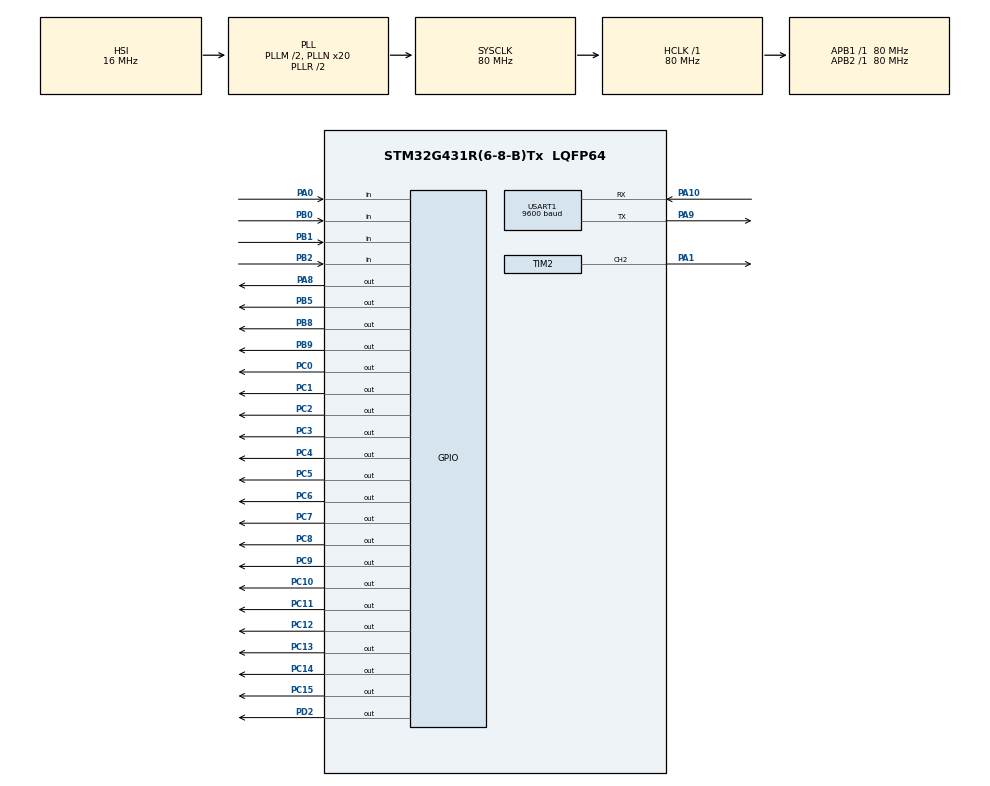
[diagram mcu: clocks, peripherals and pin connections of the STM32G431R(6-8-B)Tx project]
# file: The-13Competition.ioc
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Mcu.Family=STM32G4
Mcu.Name=STM32G431R(6-8-B)Tx
Mcu.Package=LQFP64
NVIC.PriorityGroup=NVIC_PRIORITYGROUP_4
NVIC.TIM2_IRQn=true\:0\:0\:false\:false\:true\:true\:true\:true
NVIC.TIM3_IRQn=true\:0\:0\:false\:false\:true\:true\:true\:true
NVIC.USART1_IRQn=true\:0\:0\:false\:false\:true\:true\:true\:true
PA0.Signal=GPIO_Input
PA1.Signal=S_TIM2_CH2
PA10.Mode=Asynchronous
PA10.Signal=USART1_RX
PA8.Signal=GPIO_Output
PA9.Mode=Asynchronous
PA9.Signal=USART1_TX
PB0.Signal=GPIO_Input
PB1.Signal=GPIO_Input
PB2.Signal=GPIO_Input
PB5.Signal=GPIO_Output
PB8-BOOT0.Signal=GPIO_Output
PB9.Signal=GPIO_Output
PC0.Signal=GPIO_Output
PC1.Signal=GPIO_Output
PC10.Signal=GPIO_Output
PC11.Signal=GPIO_Output
PC12.Signal=GPIO_Output
PC13.Signal=GPIO_Output
PC14-OSC32_IN.Signal=GPIO_Output
PC15-OSC32_OUT.Signal=GPIO_Output
PC2.Signal=GPIO_Output
PC3.Signal=GPIO_Output
PC4.Signal=GPIO_Output
PC5.Signal=GPIO_Output
PC6.Signal=GPIO_Output
PC7.Signal=GPIO_Output
PC8.Signal=GPIO_Output
PC9.Signal=GPIO_Output
PD2.Signal=GPIO_Output
PF0-OSC_IN.Mode=HSE-External-Oscillator
PF0-OSC_IN.Signal=RCC_OSC_IN
PF1-OSC_OUT.Mode=HSE-External-Oscillator
PF1-OSC_OUT.Signal=RCC_OSC_OUT
ProjectManager.HeapSize=0x200
ProjectManager.StackSize=0x400
ProjectManager.TargetToolchain=MDK-ARM V5
RCC.ADC12Freq_Value=80000000
RCC.AHBFreq_Value=80000000
RCC.APB1Freq_Value=80000000
RCC.APB1TimFreq_Value=80000000
RCC.APB2Freq_Value=80000000
RCC.APB2TimFreq_Value=80000000
RCC.CortexFreq_Value=80000000
RCC.EXTERNAL_CLOCK_VALUE=12288000
RCC.HCLKFreq_Value=80000000
RCC.HSE_VALUE=24000000
RCC.HSI48_VALUE=48000000
RCC.HSI_VALUE=16000000
RCC.LSE_VALUE=32768
RCC.PLLM=RCC_PLLM_DIV2
RCC.PLLN=20
RCC.SYSCLKFreq_VALUE=80000000
RCC.SYSCLKSource=RCC_SYSCLKSOURCE_PLLCLK
RCC.USBFreq_Value=80000000
RCC.VCOOutputFreq_Value=160000000
SH.S_TIM2_CH2.0=TIM2_CH2,PWM Generation2 CH2
TIM2.Channel-PWM\ Generation2\ CH2=TIM_CHANNEL_2
TIM2.PeriodNoDither=999
TIM2.Prescaler=79
TIM2.PulseNoDither_2=499
TIM3.PeriodNoDither=10000-1
TIM3.Prescaler=719
USART1.BaudRate=9600
USART1.VirtualMode-Asynchronous=VM_ASYNC
VP_SYS_VS_DBSignals.Mode=DisableDeadBatterySignals
VP_TIM3_VS_ClockSourceINT.Mode=Internal
board=custom

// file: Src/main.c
/* USER CODE BEGIN Header */
/**
  ******************************************************************************
  * @file           : main.c
  * @brief          : Main program body
  ******************************************************************************
  * @attention
  *
  * <h2><center>&copy; Copyright (c) 2021 STMicroelectronics.
  * All rights reserved.</center></h2>
  *
  * This software component is licensed by ST under BSD 3-Clause license,
  * the "License"; You may not use this file except in compliance with the
  * License. You may obtain a copy of the License at:
  *                        opensource.org/licenses/BSD-3-Clause
  *
  ******************************************************************************
  */
/* USER CODE END Header */

#include "main.h"
#include "tim.h"
#include "usart.h"
#include "gpio.h"

/* USER CODE BEGIN Includes */
#include "key.h"
#include "led.h"
#include "string.h"
#include "stdio.h"
/* USER CODE END Includes */

void SystemClock_Config(void);

/* USER CODE BEGIN 0 */
u8 Uart_buff,RxBuffer[20],Tx,Rx_cnt ;
u8 Display_Flag = 0;
u32 ARR_Num,CCR2_Num ;
u8 Ctrl ;
typedef struct
{
	u8 Last ;
	u8 Now ;
}BaseData;

typedef struct
{
	int B1 ;
	int B2 ;
	int B3 ;

	u8 Key ;
}KeyNum;
KeyNum Key ;
KeyNum Realy[3] ;
KeyNum Now[3] ;
KeyNum Next[3] ;
__IO uint32_t KeyTick = 0 ;

u8 Juge_RXData(void)
{
	if(RxBuffer[3] == '-')
	{
		for(u8 i=0 ;i<3;i++)
		{
			if(((RxBuffer[i]>='0') && (RxBuffer[i]<='9')) && ((RxBuffer[i+4]>='0') && (RxBuffer[i+4]<='9')))
				return 1 ;
		}
	}
	else return 0 ;

	return 0 ;
}

u8 Entable_Key(void)
{
	if((Realy[0].Key == Key.B1) && (Realy[1].Key == Key.B2) && (Realy[2].Key == Key.B3))
		return 1 ;
	else return 0 ;
}
u8 Juge_Right(void)
{
	for(u8 x=0 ;x<3 ;x++)
	{
		if(Now[x].Key == Realy[x].Key)
			return 1 ;
	}
	return 0 ;
}
__IO uint32_t UartTick = 0 ;
void Juge_Uart(void)
{
	if(uwTick - UartTick < 200) return ;
	UartTick = uwTick ;

	if(Juge_RXData())
	{
		for(u8 i=0 ;i<3 ;i++)
		{
			Now[i].Key = (RxBuffer[i]-'0') ;
			Next[i].Key = (RxBuffer[i+4]-'0') ;
		}
		if(Juge_Right())
		{
			for(u8 i=0 ;i<3 ;i++)
			{
				Realy[i].Key = Next[i].Key ;
			}
		}

	}
	else goto Clear ;

	Clear:
	      memset(RxBuffer,'\0',sizeof(RxBuffer)) ;
}
u8 ENFlag = 0 ;
u8 Alerm_Flag = 0 ;
void Key_Process(void)
{
	if(uwTick - KeyTick<10) return ;
	KeyTick = uwTick ;

	Key_Read() ;

	if(!Display_Flag)
	{
		if(Trg & 0x01)
		{
			if(Key.B1 == ('@'-'0'))
				Key.B1 = -1 ;
			Key.B1 += 1 ;
			if(Key.B1 > 9) Key.B1 = 0 ;
		}
		if(Trg & 0x02)
		{
			if(Key.B2 == ('@'-'0'))
				Key.B2 = -1 ;
			Key.B2 += 1 ;
			if(Key.B2 > 9) Key.B2 = 0 ;
		}
		if(Trg & 0x04)
		{
			if(Key.B3 == ('@'-'0'))
				Key.B3 = -1 ;
			Key.B3 += 1 ;
			if(Key.B3 > 9) Key.B3 = 0 ;
		}
    }

	if(Trg & 0x08)
	{
		if(Entable_Key())
		{
			Alerm_Flag = 0 ;
	        ENFlag = 1 ;
	        Display_Flag = 1 ;
	        memset(RxBuffer,'\0',sizeof(RxBuffer)) ;
		}
		else
		{
			Alerm_Flag += 1 ;
			Display_Flag = 0 ;
			memset(RxBuffer,'\0',sizeof(RxBuffer)) ;
		}
	}

}

void PSD_Show(void)
{
	u8 Display_buff[20] ;
	LCD_DisplayStringLine(Line1,(unsigned char*)"       PSD          ") ;

	sprintf((char*)Display_buff,"    B1:%c    ",Key.B1+'0');
	LCD_DisplayStringLine(Line3,Display_buff) ;

	sprintf((char*)Display_buff,"    B2:%c    ",Key.B2+'0');
	LCD_DisplayStringLine(Line4,Display_buff) ;

	sprintf((char*)Display_buff,"    B3:%c    ",Key.B3+'0');
	LCD_DisplayStringLine(Line5,Display_buff) ;
}

void STA_Show(void)
{
	u8 Display_buff[20] ;
	LCD_DisplayStringLine(Line1,(unsigned char*)"       STA          ") ;

	sprintf((char*)Display_buff,"    F:%dHz    ",2000);
	LCD_DisplayStringLine(Line3,Display_buff) ;

	sprintf((char*)Display_buff,"    D:%d%%    ",10);
	LCD_DisplayStringLine(Line4,Display_buff) ;

	LCD_DisplayStringLine(Line5,(unsigned char*)"                    ") ;
}

void Display_Show(void)
{
	if(Display_Flag)
	{
		ARR_Num = 499 ;
		CCR2_Num = 50 ;
		STA_Show() ;
		if(ENFlag)
		{
			Key.B1 = ('@'-'0') ;
			Key.B2 = ('@'-'0') ;
			Key.B3 = ('@'-'0') ;
			ENFlag = 0 ;
		}
	}
	else
	{
		ARR_Num = 999 ;
		CCR2_Num = 500 ;
        PSD_Show() ;
	}
	TIM2->ARR = ARR_Num ;
	TIM2->CCR2 = CCR2_Num ;
}
/* USER CODE END 0 */

int main(void)
{

  /* MCU Configuration--------------------------------------------------------*/

  /* Reset of all peripherals, Initializes the Flash interface and the Systick. */
  HAL_Init();

  /* Configure the system clock */
  SystemClock_Config();

  /* Initialize all configured peripherals */
  MX_GPIO_Init();
  MX_TIM2_Init();
  MX_USART1_UART_Init();
  MX_TIM3_Init();
  /* USER CODE BEGIN 2 */
	HAL_UART_Receive_IT(&huart1,&Uart_buff,1) ;
	HAL_TIM_PWM_Start(&htim2,TIM_CHANNEL_2) ;
	HAL_TIM_Base_Start_IT(&htim3) ;
	TIM2->ARR = 999 ;
	TIM2->CCR2 = 500 ;
	Realy[0].Key = 1 ;
	Realy[1].Key = 2 ;
	Realy[2].Key = 3 ;
	Key.B1 = ('@'-'0') ;
	Key.B2 = ('@'-'0') ;
	Key.B3 = ('@'-'0') ;
	LCD_Init();
	LED_Control(0x00) ;
  /* USER CODE END 2 */

  /* Infinite loop */
  /* USER CODE BEGIN WHILE */

	LCD_Clear(Black);
	LCD_SetBackColor(Black);
	LCD_SetTextColor(White);

  while (1)
  {
    /* USER CODE END WHILE */

    /* USER CODE BEGIN 3 */
	  Juge_Uart() ;
	  Key_Process() ;
	  Display_Show() ;

  }
  /* USER CODE END 3 */
}

void SystemClock_Config(void)
{
  RCC_OscInitTypeDef RCC_OscInitStruct = {0};
  RCC_ClkInitTypeDef RCC_ClkInitStruct = {0};
  RCC_PeriphCLKInitTypeDef PeriphClkInit = {0};

  /** Configure the main internal regulator output voltage
  */
  HAL_PWREx_ControlVoltageScaling(PWR_REGULATOR_VOLTAGE_SCALE1);
  /** Initializes the CPU, AHB and APB busses clocks
  */
  RCC_OscInitStruct.OscillatorType = RCC_OSCILLATORTYPE_HSI;
  RCC_OscInitStruct.HSIState = RCC_HSI_ON;
  RCC_OscInitStruct.HSICalibrationValue = RCC_HSICALIBRATION_DEFAULT;
  RCC_OscInitStruct.PLL.PLLState = RCC_PLL_ON;
  RCC_OscInitStruct.PLL.PLLSource = RCC_PLLSOURCE_HSI;
  RCC_OscInitStruct.PLL.PLLM = RCC_PLLM_DIV2;
  RCC_OscInitStruct.PLL.PLLN = 20;
  RCC_OscInitStruct.PLL.PLLP = RCC_PLLP_DIV2;
  RCC_OscInitStruct.PLL.PLLQ = RCC_PLLQ_DIV2;
  RCC_OscInitStruct.PLL.PLLR = RCC_PLLR_DIV2;
  if (HAL_RCC_OscConfig(&RCC_OscInitStruct) != HAL_OK)
  {
    Error_Handler();
  }
  /** Initializes the CPU, AHB and APB busses clocks
  */
  RCC_ClkInitStruct.ClockType = RCC_CLOCKTYPE_HCLK|RCC_CLOCKTYPE_SYSCLK
                              |RCC_CLOCKTYPE_PCLK1|RCC_CLOCKTYPE_PCLK2;
  RCC_ClkInitStruct.SYSCLKSource = RCC_SYSCLKSOURCE_PLLCLK;
  RCC_ClkInitStruct.AHBCLKDivider = RCC_SYSCLK_DIV1;
  RCC_ClkInitStruct.APB1CLKDivider = RCC_HCLK_DIV1;
  RCC_ClkInitStruct.APB2CLKDivider = RCC_HCLK_DIV1;

  if (HAL_RCC_ClockConfig(&RCC_ClkInitStruct, FLASH_LATENCY_3) != HAL_OK)
  {
    Error_Handler();
  }
  /** Initializes the peripherals clocks
  */
  PeriphClkInit.PeriphClockSelection = RCC_PERIPHCLK_USART1;
  PeriphClkInit.Usart1ClockSelection = RCC_USART1CLKSOURCE_PCLK2;
  if (HAL_RCCEx_PeriphCLKConfig(&PeriphClkInit) != HAL_OK)
  {
    Error_Handler();
  }
}

/* USER CODE BEGIN 4 */
void HAL_UART_RxCpltCallback(UART_HandleTypeDef *huart)
{
	RxBuffer[Rx_cnt++] = Uart_buff ;

	HAL_UART_Receive_IT(&huart1,&Uart_buff,1) ;
}
u8 i = 0 ;
u8 x = 0 ;
u8 Flash_Flag = 0 ;
void HAL_TIM_PeriodElapsedCallback(TIM_HandleTypeDef *htim)
{
	if(htim->Instance == TIM3)
	{
		if(Display_Flag == 1)
		{
			Ctrl |= 0x01 ;
			i++ ;
			if(i == 50)
			{
				i = 0 ;
				Display_Flag = 0 ;
			    Ctrl &= ~0x01 ;
			}
		}

		if(Alerm_Flag >= 3)
		{
			x++ ;
			if(x == 50)
			{
				x = 0 ;
				Alerm_Flag = 0 ;
				Ctrl &= ~0x02 ;
			}
			else
			{
				if(!Flash_Flag)
				{
					Ctrl |= 0x02 ;
					Flash_Flag = 1 ;
				}
				else
				{
					Ctrl &= ~0x02 ;
					Flash_Flag = 0 ;
				}
		    }
		}
		LED_Control(Ctrl) ;
	}
}

/* USER CODE END 4 */

void Error_Handler(void)
{
}

/************************ (C) COPYRIGHT STMicroelectronics *****END OF FILE****/
